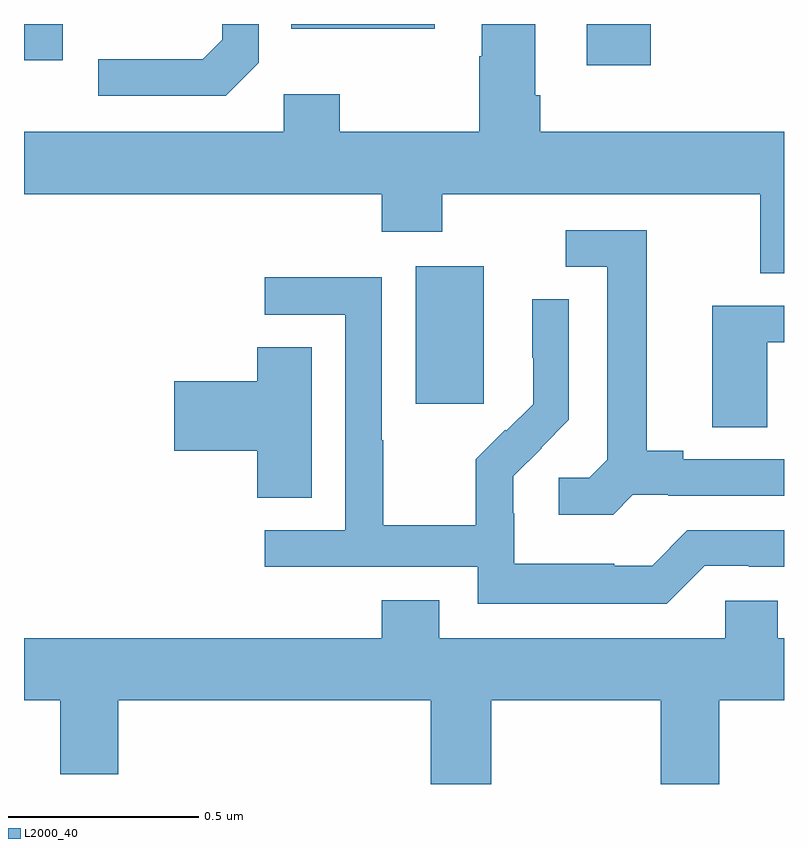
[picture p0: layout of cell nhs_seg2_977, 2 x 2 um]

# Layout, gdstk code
import gdstk
lib = gdstk.Library(unit=1e-6, precision=1e-09)
def R(c, l, rs):  # rectangles x0, y0, x1, y1
    for r in rs: c.add(gdstk.rectangle(r[:2], r[2:], *l))
def P(c, l, *ps):  # polygons
    for p in ps: c.add(gdstk.Polygon(p, *l))
L2000_40 = (2000, 40)

nhs_seg2_977 = lib.new_cell('nhs_seg2_977')
R(nhs_seg2_977, L2000_40, [(124.031,597.801,124.21,598.162), (124.481,598.692,124.649,598.8), (123,598.704,123.102,598.8), (123.703,598.787,124.081,598.8)])
P(nhs_seg2_977, L2000_40, [(125,598.516),(124.358,598.516),(124.358,598.612),(124.345,598.612),(124.345,598.8),(124.205,598.8),(124.205,598.715),(124.198,598.715),(124.198,598.516),(123.831,598.516),(123.831,598.615),(123.684,598.615),(123.684,598.516),(123,598.516),(123,598.352),(123.941,598.352),(123.941,598.253),(124.101,598.253),(124.101,598.352),(124.937,598.352),(124.937,598.144),(125,598.144)],
  [(123.618,598.698),(123.618,598.8),(123.522,598.8),(123.522,598.758),(123.471,598.707),(123.195,598.707),(123.195,598.611),(123.531,598.611)],
  [(124.602,597.561),(124.696,597.561),(124.696,597.558),(125,597.558),(125,597.654),(124.735,597.654),(124.735,597.677),(124.639,597.677),(124.639,598.257),(124.425,598.257),(124.425,598.161),(124.535,598.161),(124.535,597.653),(124.488,597.606),(124.407,597.606),(124.407,597.509),(124.55,597.509)],
  [(124.791,597.375),(124.907,597.375),(124.907,597.372),(125,597.372),(125,597.468),(124.746,597.468),(124.653,597.375),(124.553,597.375),(124.553,597.379),(124.29,597.379),(124.29,597.513),(124.288,597.513),(124.288,597.61),(124.362,597.684),(124.361,597.685),(124.434,597.758),(124.434,598.076),(124.338,598.076),(124.338,597.922),(124.34,597.922),(124.34,597.8),(124.269,597.729),(124.266,597.732),(124.189,597.655),(124.189,597.481),(123.945,597.481),(123.945,597.704),(123.942,597.704),(123.942,598.134),(123.633,598.134),(123.633,598.035),(123.846,598.035),(123.846,597.468),(123.633,597.468),(123.633,597.372),(124.194,597.372),(124.194,597.275),(124.691,597.275)],
  [(124.956,597.963),(125,597.963),(125,598.059),(124.811,598.059),(124.811,597.739),(124.956,597.739)],
  [(123.757,597.95),(123.614,597.95),(123.614,597.86),(123.396,597.86),(123.396,597.677),(123.614,597.677),(123.614,597.553),(123.757,597.553)],
  [(124.23,597.02),(124.675,597.02),(124.675,596.8),(124.83,596.8),(124.83,597.02),(125,597.02),(125,597.184),(124.983,597.184),(124.983,597.282),(124.845,597.282),(124.845,597.184),(124.093,597.184),(124.093,597.283),(123.941,597.283),(123.941,597.184),(123,597.184),(123,597.02),(123.095,597.02),(123.095,596.826),(123.248,596.826),(123.248,597.02),(124.07,597.02),(124.07,596.8),(124.23,596.8)])

lib.write_gds('nhs_seg2_977.gds')
